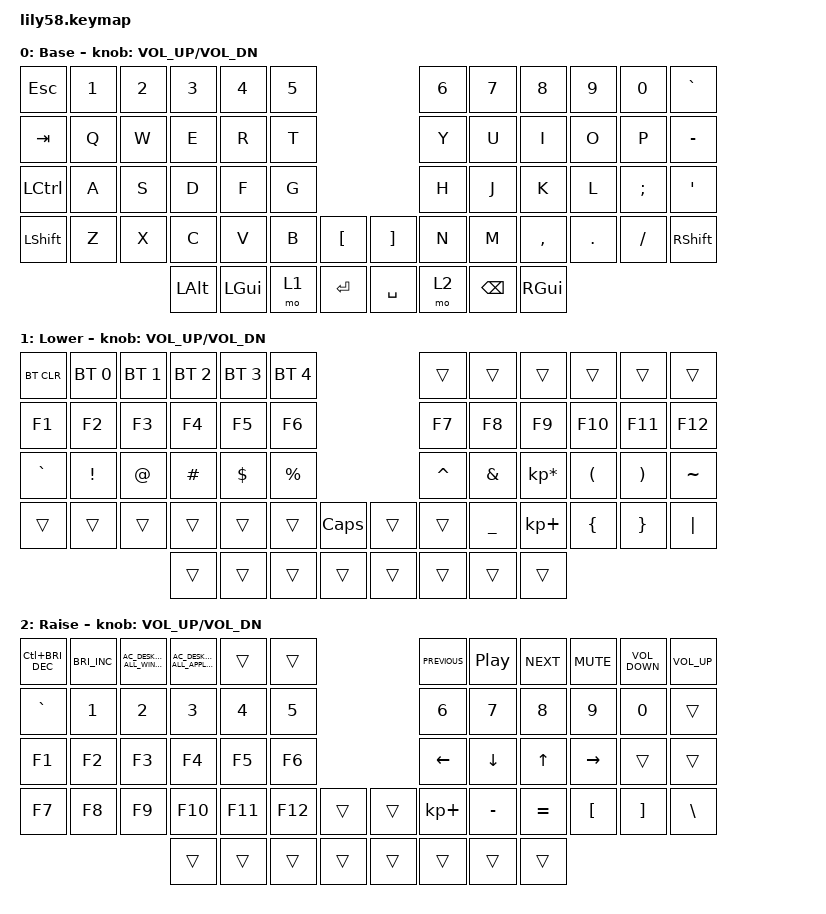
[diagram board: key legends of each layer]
/*
 * Copyright (c) 2020 The ZMK Contributors
 *
 * SPDX-License-Identifier: MIT
 */

#include <behaviors.dtsi>
#include <dt-bindings/zmk/bt.h>
#include <dt-bindings/zmk/keys.h>

/ {
    keymap {
        compatible = "zmk,keymap";

        default_layer {
            // ------------------------------------------------------------------------------------------------------------
            // |  ESC  |  1  |  2  |  3   |  4   |  5   |                   |  6   |  7    |  8    |  9   |   0   |   `   |
            // |  TAB  |  Q  |  W  |  E   |  R   |  T   |                   |  Y   |  U    |  I    |  O   |   P   |   -   |
            // |  CTRL |  A  |  S  |  D   |  F   |  G   |                   |  H   |  J    |  K    |  L   |   ;   |   '   |
            // | SHIFT |  Z  |  X  |  C   |  V   |  B   |   "["  |  |  "]"  |  N   |  M    |  ,    |  .   |   /   | SHIFT |
            //                     | ALT  | GUI  | LOWER|  SPACE |  | ENTER | RAISE| BSPC  | GUI   |

            display-name = "Base";
            bindings = <
&kp ESC    &kp N1  &kp N2  &kp N3    &kp N4    &kp N5                         &kp N6  &kp N7    &kp N8     &kp N9   &kp N0    &kp GRAVE
&kp TAB    &kp Q   &kp W   &kp E     &kp R     &kp T                          &kp Y   &kp U     &kp I      &kp O    &kp P     &kp MINUS
&kp LCTRL  &kp A   &kp S   &kp D     &kp F     &kp G                          &kp H   &kp J     &kp K      &kp L    &kp SEMI  &kp SQT
&kp LSHFT  &kp Z   &kp X   &kp C     &kp V     &kp B   &kp LBKT    &kp RBKT   &kp N   &kp M     &kp COMMA  &kp DOT  &kp FSLH  &kp RSHFT
                           &kp LALT  &kp LGUI  &mo 1   &kp RET     &kp SPACE  &mo 2   &kp BSPC  &kp RGUI
            >;

            sensor-bindings = <&inc_dec_kp C_VOL_UP C_VOL_DN>;
        };

        lower_layer {
            // ------------------------------------------------------------------------------------------------------------
            // | BTCLR | BT1 | BT2 |  BT3 |  BT4 |  BT5 |                   |      |       |       |      |       |       |
            // |  F1   |  F2 |  F3 |  F4  |  F5  |  F6  |                   |  F7  |  F8   |  F9   |  F10 |  F11  |  F12  |
            // |   `   |  !  |  @  |  #   |  $   |  %   |                   |  ^   |  &    |  *    |  (   |   )   |   ~   |
            // |       |     |     |      |      |      |        |  |       |      |  _    |  +    |  {   |   }   |  "|"  |
            //                     |      |      |      |        |  |       |      |       |       |

            display-name = "Lower";
            bindings = <
&bt BT_CLR  &bt BT_SEL 0  &bt BT_SEL 1  &bt BT_SEL 2  &bt BT_SEL 3  &bt BT_SEL 4                          &trans     &trans     &trans           &trans    &trans    &trans
&kp F1      &kp F2        &kp F3        &kp F4        &kp F5        &kp F6                                &kp F7     &kp F8     &kp F9           &kp F10   &kp F11   &kp F12
&kp GRAVE   &kp EXCL      &kp AT        &kp HASH      &kp DOLLAR    &kp PRCNT                             &kp CARET  &kp AMPS   &kp KP_MULTIPLY  &kp LPAR  &kp RPAR  &kp TILDE
&trans      &trans        &trans        &trans        &trans        &trans        &kp CAPSLOCK    &trans  &trans     &kp UNDER  &kp KP_PLUS      &kp LBRC  &kp RBRC  &kp PIPE
                                        &trans        &trans        &trans        &trans          &trans  &trans     &trans     &trans
            >;

            sensor-bindings = <&inc_dec_kp C_VOL_UP C_VOL_DN>;
        };

        raise_layer {
            // ------------------------------------------------------------------------------------------------------------
            // |       |     |     |      |      |      |                   |      |       |       |      |       |       |
            // |   `   |  1  |  2  |  3   |  4   |  5   |                   |  6   |   7   |   8   |  9   |   0   |       |
            // |   F1  |  F2 |  F3 |  F4  |  F5  |  F6  |                   |      |   <-  |   v   |  ^   |  ->   |       |
            // |   F7  |  F8 |  F9 |  F10 |  F11 |  F12 |        |  |       |  +   |   -   |   =   |  [   |   ]   |   \   |
            //                     |      |      |      |        |  |       |      |       |       |

            display-name = "Raise";
            bindings = <
&kp LC(C_BRIGHTNESS_DEC)  &kp C_BRIGHTNESS_INC  &kp C_AC_DESKTOP_SHOW_ALL_WINDOWS  &kp C_AC_DESKTOP_SHOW_ALL_APPLICATIONS  &trans   &trans                     &kp C_PREVIOUS  &kp C_PLAY_PAUSE  &kp C_NEXT  &kp C_MUTE  &kp C_VOLUME_DOWN  &kp C_VOLUME_UP
&kp GRAVE                 &kp N1                &kp N2                             &kp N3                                  &kp N4   &kp N5                     &kp N6          &kp N7            &kp N8      &kp N9      &kp N0             &trans
&kp F1                    &kp F2                &kp F3                             &kp F4                                  &kp F5   &kp F6                     &kp LEFT        &kp DOWN          &kp UP      &kp RIGHT   &trans             &trans
&kp F7                    &kp F8                &kp F9                             &kp F10                                 &kp F11  &kp F12  &trans    &trans  &kp KP_PLUS     &kp MINUS         &kp EQUAL   &kp LBKT    &kp RBKT           &kp BSLH
                                                                                   &trans                                  &trans   &trans   &trans    &trans  &trans          &trans            &trans
            >;

            sensor-bindings = <&inc_dec_kp C_VOL_UP C_VOL_DN>;
        };

        extra_1 { status = "reserved"; };

        extra_2 { status = "reserved"; };

        extra_3 { status = "reserved"; };
    };
};
